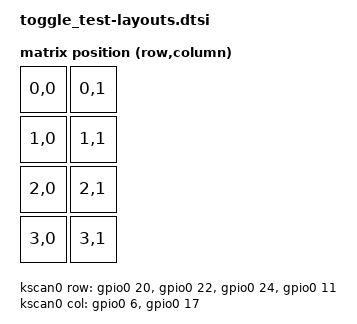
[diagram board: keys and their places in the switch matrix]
#include <dt-bindings/zmk/matrix_transform.h>

/ {
    chosen {
		zmk,kscan = &kscan0;
		zmk,matrix_transform = &default_transform;
	};

	default_transform: keymap_transform0 {
        compatible = "zmk,matrix-transform";
        columns = <2>; // Length of the "col-gpios" array
        rows = <4>; // Length of the "row-gpios" array
        map = <
        //   Key 1 | Key 2
            RC(0,0) RC(0,1)
        //   Key 3 | Key 4
            RC(1,0) RC(1,1)
        //   Key 5 | Key 6
            RC(2,0) RC(2,1)
        //   Key 7 | Key 8
            RC(3,0) RC(3,1)
        >;
    };

    kscan0: kscan0 {
        compatible = "zmk,kscan-gpio-matrix";
        diode-direction = "col2row";
        wakeup-source;

        col-gpios
            = <&gpio0 6 GPIO_ACTIVE_HIGH>
            , <&gpio0 17 GPIO_ACTIVE_HIGH>
            ;

        row-gpios
            = <&gpio0 20 (GPIO_ACTIVE_HIGH | GPIO_PULL_DOWN)>
            , <&gpio0 22 (GPIO_ACTIVE_HIGH | GPIO_PULL_DOWN)>
            , <&gpio0 24 (GPIO_ACTIVE_HIGH | GPIO_PULL_DOWN)>
            , <&gpio0 11 (GPIO_ACTIVE_HIGH | GPIO_PULL_DOWN)>
            ;
    };
};
